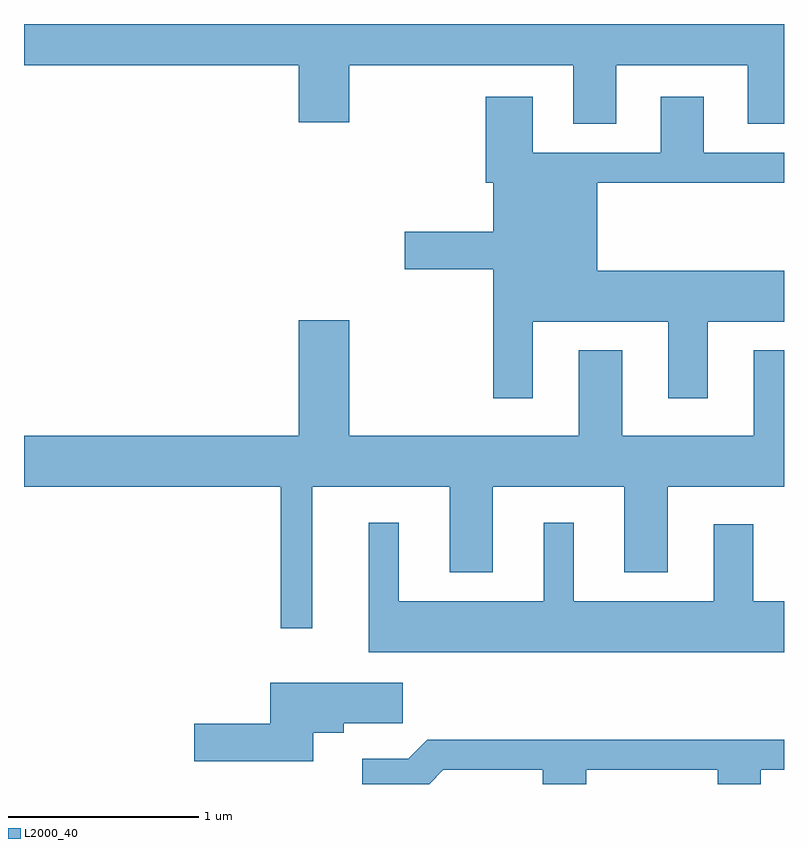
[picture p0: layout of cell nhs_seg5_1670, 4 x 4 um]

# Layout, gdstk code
import gdstk
lib = gdstk.Library(unit=1e-6, precision=1e-09)
def P(c, l, *ps):  # polygons
    for p in ps: c.add(gdstk.Polygon(p, *l))
L2000_40 = (2000, 40)

nhs_seg5_1670 = lib.new_cell('nhs_seg5_1670')
P(nhs_seg5_1670, L2000_40, [(236.729,1507.856),(237.421,1507.856),(237.421,1507.546),(237.611,1507.546),(237.611,1508.072),(233.611,1508.072),(233.611,1507.856),(235.056,1507.856),(235.056,1507.556),(235.324,1507.556),(235.324,1507.856),(236.501,1507.856),(236.501,1507.546),(236.729,1507.546)],
  [(236.289,1506.506),(237.001,1506.506),(237.001,1506.101),(237.209,1506.101),(237.209,1506.506),(237.611,1506.506),(237.611,1506.774),(236.629,1506.774),(236.629,1507.236),(237.611,1507.236),(237.611,1507.394),(237.189,1507.394),(237.189,1507.689),(236.961,1507.689),(236.961,1507.394),(236.289,1507.394),(236.289,1507.689),(236.041,1507.689),(236.041,1507.236),(236.081,1507.236),(236.081,1506.979),(235.616,1506.979),(235.616,1506.781),(236.081,1506.781),(236.081,1506.101),(236.289,1506.101)],
  [(235.129,1505.636),(235.851,1505.636),(235.851,1505.186),(236.079,1505.186),(236.079,1505.636),(236.771,1505.636),(236.771,1505.186),(236.999,1505.186),(236.999,1505.636),(237.611,1505.636),(237.611,1506.354),(237.451,1506.354),(237.451,1505.904),(236.759,1505.904),(236.759,1506.354),(236.531,1506.354),(236.531,1505.904),(235.324,1505.904),(235.324,1506.514),(235.056,1506.514),(235.056,1505.904),(233.611,1505.904),(233.611,1505.636),(234.961,1505.636),(234.961,1504.893),(235.129,1504.893)],
  [(237.611,1505.034),(237.449,1505.034),(237.449,1505.439),(237.241,1505.439),(237.241,1505.034),(236.504,1505.034),(236.504,1505.448),(236.346,1505.448),(236.346,1505.034),(235.584,1505.034),(235.584,1505.448),(235.426,1505.448),(235.426,1504.766),(237.611,1504.766)],
  [(235.134,1504.341),(235.294,1504.341),(235.294,1504.391),(235.604,1504.391),(235.604,1504.604),(234.906,1504.604),(234.906,1504.389),(234.506,1504.389),(234.506,1504.191),(235.134,1504.191)],
  [(235.817,1504.146),(236.341,1504.146),(236.341,1504.072),(236.569,1504.072),(236.569,1504.146),(237.261,1504.146),(237.261,1504.072),(237.489,1504.072),(237.489,1504.146),(237.611,1504.146),(237.611,1504.304),(235.734,1504.304),(235.634,1504.204),(235.391,1504.204),(235.391,1504.072),(235.743,1504.072)])

lib.write_gds('nhs_seg5_1670.gds')
